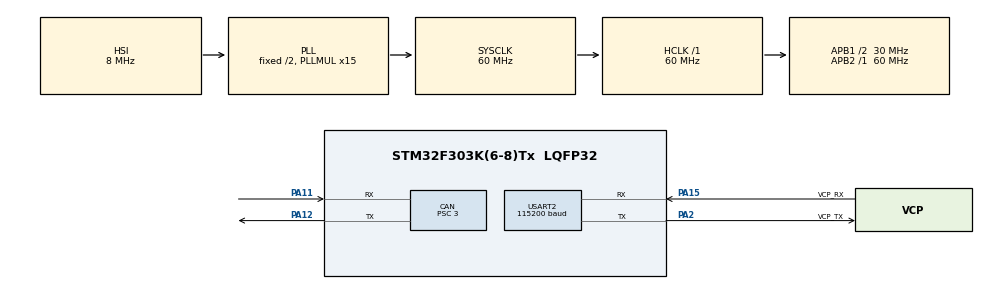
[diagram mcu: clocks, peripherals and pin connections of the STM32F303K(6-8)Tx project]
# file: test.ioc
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CAN.BS1=CAN_BS1_15TQ
CAN.BS2=CAN_BS2_4TQ
CAN.CalculateBaudRate=500000
CAN.CalculateTimeBit=2000
CAN.CalculateTimeQuantum=100.0
CAN.Prescaler=3
Dma.Request0=USART2_TX
Dma.USART2_TX.0.Direction=DMA_MEMORY_TO_PERIPH
Dma.USART2_TX.0.Instance=DMA1_Channel7
Dma.USART2_TX.0.MemDataAlignment=DMA_MDATAALIGN_BYTE
Dma.USART2_TX.0.MemInc=DMA_MINC_ENABLE
Dma.USART2_TX.0.Mode=DMA_NORMAL
Dma.USART2_TX.0.PeriphDataAlignment=DMA_PDATAALIGN_BYTE
Dma.USART2_TX.0.PeriphInc=DMA_PINC_DISABLE
Dma.USART2_TX.0.Priority=DMA_PRIORITY_LOW
Mcu.Family=STM32F3
Mcu.Name=STM32F303K(6-8)Tx
Mcu.Package=LQFP32
NVIC.CAN_RX0_IRQn=true\:0\:0\:false\:false\:true\:true\:true\:true
NVIC.DMA1_Channel7_IRQn=true\:0\:0\:false\:false\:true\:false\:true\:true
NVIC.PriorityGroup=NVIC_PRIORITYGROUP_4
NVIC.USART2_IRQn=true\:0\:0\:false\:false\:true\:true\:true\:true
PA11.Mode=CAN_Activate
PA11.Signal=CAN_RX
PA12.Mode=CAN_Activate
PA12.Signal=CAN_TX
PA13.GPIO_Label=SWDIO
PA13.Mode=Serial_Wire
PA13.Signal=SYS_JTMS-SWDIO
PA14.GPIO_Label=SWCLK
PA14.Mode=Serial_Wire
PA14.Signal=SYS_JTCK-SWCLK
PA15.GPIO_Label=VCP_RX
PA15.Mode=Asynchronous
PA15.Signal=USART2_RX
PA2.GPIO_Label=VCP_TX
PA2.Mode=Asynchronous
PA2.Signal=USART2_TX
PF0\ /\ OSC_IN.GPIO_Label=MCO
PF0\ /\ OSC_IN.Mode=HSE-External-Clock-Source
PF0\ /\ OSC_IN.Signal=RCC_OSC_IN
ProjectManager.HeapSize=0x200
ProjectManager.StackSize=0x400
ProjectManager.TargetToolchain=STM32CubeIDE
RCC.AHBFreq_Value=60000000
RCC.APB1CLKDivider=RCC_HCLK_DIV2
RCC.APB1Freq_Value=30000000
RCC.APB1TimFreq_Value=60000000
RCC.APB2Freq_Value=60000000
RCC.APB2TimFreq_Value=60000000
RCC.CortexFreq_Value=60000000
RCC.HCLKFreq_Value=60000000
RCC.HSE_VALUE=8000000
RCC.HSI_VALUE=8000000
RCC.PLLMUL=RCC_PLL_MUL15
RCC.SYSCLKFreq_VALUE=60000000
RCC.SYSCLKSourceVirtual=RCC_SYSCLKSOURCE_PLLCLK
USART2.BaudRate=115200
USART2.VirtualMode-Asynchronous=VM_ASYNC
board=NUCLEO-F303K8

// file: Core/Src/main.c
/* USER CODE BEGIN Header */
/**
  ******************************************************************************
  * @file           : main.c
  * @brief          : Main program body
  ******************************************************************************
  * @attention
  *
  * Copyright (c) 2023 STMicroelectronics.
  * All rights reserved.
  *
  * This software is licensed under terms that can be found in the LICENSE file
  * in the root directory of this software component.
  * If no LICENSE file comes with this software, it is provided AS-IS.
  *
  ******************************************************************************
  */
/* USER CODE END Header */
#include "main.h"

/* USER CODE BEGIN Includes */
#include <stdio.h>
#include <String.h>
#include <xprintf.h>
/* USER CODE END Includes */

CAN_HandleTypeDef hcan;

UART_HandleTypeDef huart2;
DMA_HandleTypeDef hdma_usart2_tx;

void SystemClock_Config(void);
static void MX_GPIO_Init(void);
static void MX_DMA_Init(void);
static void MX_USART2_UART_Init(void);
static void MX_CAN_Init(void);

/* USER CODE BEGIN 0 */
CAN_TxHeaderTypeDef TxHeader; //declare a specific header for message transmittions
CAN_RxHeaderTypeDef RxHeader; //declare header for message reception
uint32_t TxMailbox;
uint8_t TxData[8],RxData[8];
uint8_t cnt;
uint8_t txBuff[] = "hello stm32 CAN\n";

void HAL_CAN_RxFifo0MsgPendingCallback(CAN_HandleTypeDef *hcan)
{
  /* Get RX message */
	if (HAL_CAN_GetRxMessage(hcan, CAN_RX_FIFO0, &RxHeader, RxData) != HAL_OK)
  {
    /* Reception Error */
    Error_Handler();
  }
  xprintf(" id=%x [0]=%d [1]=%d [2]=%d\r\n",RxHeader.StdId,RxData[0],RxData[1],RxData[2]);
}
/* USER CODE END 0 */

int main(void)
{

  /* MCU Configuration--------------------------------------------------------*/

  /* Reset of all peripherals, Initializes the Flash interface and the Systick. */
  HAL_Init();

  /* Configure the system clock */
  SystemClock_Config();

  /* Initialize all configured peripherals */
  MX_GPIO_Init();
  MX_DMA_Init();
  MX_USART2_UART_Init();
  MX_CAN_Init();
  /* USER CODE BEGIN 2 */
  init_xprintf(&huart2);
  HAL_CAN_Start(&hcan);
  if (HAL_CAN_ActivateNotification(&hcan, CAN_IT_RX_FIFO0_MSG_PENDING) != HAL_OK)
   {

     Error_Handler();
   }
  /* USER CODE END 2 */

  /* Infinite loop */
  while (1)
  {

	  HAL_UART_Transmit_DMA(&huart2, txBuff, sizeof(txBuff));

    /* USER CODE BEGIN 3 */
	  HAL_Delay(100);

	  TxHeader.StdId = 0x123;
	  TxHeader.RTR = CAN_RTR_DATA;
	  TxHeader.IDE = CAN_ID_STD;
	  TxHeader.DLC = 3;
	  TxHeader.TransmitGlobalTime = DISABLE;
	  TxData[0] = 100;
	  TxData[1] = 200;
	  TxData[2] = cnt;

	   /* Request transmission */
	  if(HAL_CAN_AddTxMessage(&hcan, &TxHeader, TxData, &TxMailbox) != HAL_OK)
	  {
	   /* Transmission request Error */
	  	  	Error_Handler();
	  }
	  HAL_Delay(10);
	  while(HAL_CAN_GetTxMailboxesFreeLevel(&hcan) != 3) {}
	  	  	   if(cnt>250)
	  	  	   {
	  	  		   cnt=0;
	  	  	   }
	  	  	   else
	  	  	   {
	  	  		   cnt++;
	  	  	   }
  }
  /* USER CODE END 3 */
}

void SystemClock_Config(void)
{
  RCC_OscInitTypeDef RCC_OscInitStruct = {0};
  RCC_ClkInitTypeDef RCC_ClkInitStruct = {0};

  /** Initializes the RCC Oscillators according to the specified parameters
  * in the RCC_OscInitTypeDef structure.
  */
  RCC_OscInitStruct.OscillatorType = RCC_OSCILLATORTYPE_HSI;
  RCC_OscInitStruct.HSIState = RCC_HSI_ON;
  RCC_OscInitStruct.HSICalibrationValue = RCC_HSICALIBRATION_DEFAULT;
  RCC_OscInitStruct.PLL.PLLState = RCC_PLL_ON;
  RCC_OscInitStruct.PLL.PLLSource = RCC_PLLSOURCE_HSI;
  RCC_OscInitStruct.PLL.PLLMUL = RCC_PLL_MUL15;
  if (HAL_RCC_OscConfig(&RCC_OscInitStruct) != HAL_OK)
  {
    Error_Handler();
  }

  /** Initializes the CPU, AHB and APB buses clocks
  */
  RCC_ClkInitStruct.ClockType = RCC_CLOCKTYPE_HCLK|RCC_CLOCKTYPE_SYSCLK
                              |RCC_CLOCKTYPE_PCLK1|RCC_CLOCKTYPE_PCLK2;
  RCC_ClkInitStruct.SYSCLKSource = RCC_SYSCLKSOURCE_PLLCLK;
  RCC_ClkInitStruct.AHBCLKDivider = RCC_SYSCLK_DIV1;
  RCC_ClkInitStruct.APB1CLKDivider = RCC_HCLK_DIV2;
  RCC_ClkInitStruct.APB2CLKDivider = RCC_HCLK_DIV1;

  if (HAL_RCC_ClockConfig(&RCC_ClkInitStruct, FLASH_LATENCY_2) != HAL_OK)
  {
    Error_Handler();
  }
}

static void MX_CAN_Init(void)
{

  hcan.Instance = CAN;
  hcan.Init.Prescaler = 3;
  hcan.Init.Mode = CAN_MODE_NORMAL;
  hcan.Init.SyncJumpWidth = CAN_SJW_1TQ;
  hcan.Init.TimeSeg1 = CAN_BS1_15TQ;
  hcan.Init.TimeSeg2 = CAN_BS2_4TQ;
  hcan.Init.TimeTriggeredMode = DISABLE;
  hcan.Init.AutoBusOff = DISABLE;
  hcan.Init.AutoWakeUp = DISABLE;
  hcan.Init.AutoRetransmission = DISABLE;
  hcan.Init.ReceiveFifoLocked = DISABLE;
  hcan.Init.TransmitFifoPriority = DISABLE;
  if (HAL_CAN_Init(&hcan) != HAL_OK)
  {
    Error_Handler();
  }

}

static void MX_USART2_UART_Init(void)
{

  huart2.Instance = USART2;
  huart2.Init.BaudRate = 115200;
  huart2.Init.WordLength = UART_WORDLENGTH_8B;
  huart2.Init.StopBits = UART_STOPBITS_1;
  huart2.Init.Parity = UART_PARITY_NONE;
  huart2.Init.Mode = UART_MODE_TX_RX;
  huart2.Init.HwFlowCtl = UART_HWCONTROL_NONE;
  huart2.Init.OverSampling = UART_OVERSAMPLING_16;
  huart2.Init.OneBitSampling = UART_ONE_BIT_SAMPLE_DISABLE;
  huart2.AdvancedInit.AdvFeatureInit = UART_ADVFEATURE_NO_INIT;
  if (HAL_UART_Init(&huart2) != HAL_OK)
  {
    Error_Handler();
  }

}

static void MX_DMA_Init(void)
{

  /* DMA controller clock enable */
  __HAL_RCC_DMA1_CLK_ENABLE();

  /* DMA interrupt init */
  /* DMA1_Channel7_IRQn interrupt configuration */
  HAL_NVIC_SetPriority(DMA1_Channel7_IRQn, 0, 0);
  HAL_NVIC_EnableIRQ(DMA1_Channel7_IRQn);

}

static void MX_GPIO_Init(void)
{

  /* GPIO Ports Clock Enable */
  __HAL_RCC_GPIOF_CLK_ENABLE();
  __HAL_RCC_GPIOA_CLK_ENABLE();

}

void Error_Handler(void)
{
  __disable_irq();
  while (1)
  {
  }
}
